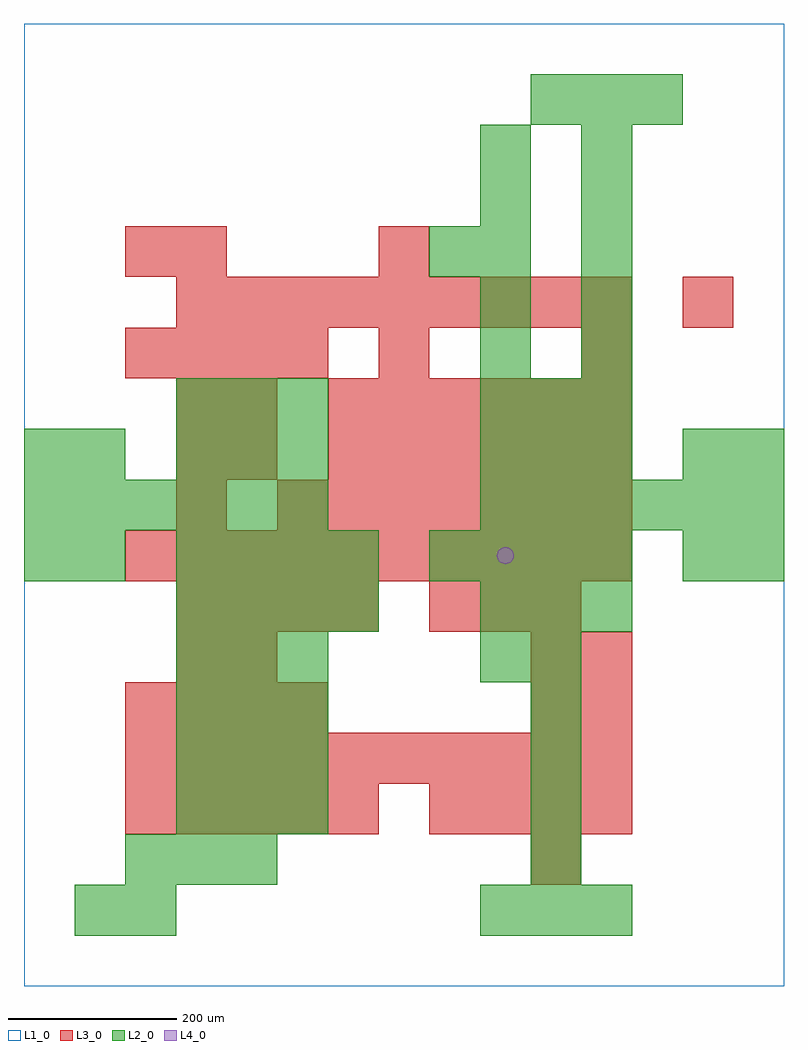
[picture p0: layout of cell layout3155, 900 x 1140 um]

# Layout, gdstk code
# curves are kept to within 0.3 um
import gdstk
lib = gdstk.Library(unit=1e-6, precision=1e-09)
def R(c, l, rs):  # rectangles x0, y0, x1, y1
    for r in rs: c.add(gdstk.rectangle(r[:2], r[2:], *l))
def A(c, l, x, y, w, h, nx, ny, dx, dy):  # array of equal rectangles
    R(c, l, [(x+i*dx, y+j*dy, x+i*dx+w, y+j*dy+h) for i in range(nx) for j in range(ny)])
def P(c, l, *ps):  # polygons
    for p in ps: c.add(gdstk.Polygon(p, *l))
L1_0 = (1, 0)
L2_0 = (2, 0)
L3_0 = (3, 0)
L4_0 = (4, 0)

layout3155 = lib.new_cell('layout3155')
R(layout3155, L1_0, [(0,0,900,1140)])
A(layout3155, L2_0, 540, 60, 60, 60, 3, 2, 60, 360)
A(layout3155, L2_0, 120, 120, 60, 60, 3, 1, 60, 0)
A(layout3155, L2_0, 600, 120, 60, 60, 1, 5, 0, 60)
A(layout3155, L2_0, 180, 180, 60, 60, 3, 4, 60, 60)
A(layout3155, L2_0, 180, 420, 60, 60, 4, 2, 60, 60)
A(layout3155, L2_0, 480, 480, 60, 60, 4, 1, 60, 0)
A(layout3155, L2_0, 0, 540, 60, 60, 6, 1, 60, 0)
A(layout3155, L2_0, 540, 540, 60, 60, 6, 1, 60, 0)
A(layout3155, L2_0, 180, 600, 60, 60, 3, 2, 60, 60)
A(layout3155, L2_0, 540, 600, 60, 60, 3, 2, 60, 60)
A(layout3155, L2_0, 540, 720, 60, 60, 1, 5, 0, 60)
A(layout3155, L2_0, 660, 720, 60, 60, 1, 5, 0, 60)
A(layout3155, L2_0, 600, 1020, 60, 60, 3, 1, 60, 0)
R(layout3155, L2_0, [(60,60,120,120), (120,60,180,120), (540,360,600,420), (0,480,60,540), (60,480,120,540), (780,480,840,540), (840,480,900,540), (0,600,60,660), (60,600,120,660), (780,600,840,660), (840,600,900,660), (480,840,540,900)])
A(layout3155, L3_0, 120, 180, 60, 60, 5, 1, 60, 0)
A(layout3155, L3_0, 480, 180, 60, 60, 4, 1, 60, 0)
A(layout3155, L3_0, 120, 240, 60, 60, 10, 2, 60, 240)
A(layout3155, L3_0, 120, 300, 60, 60, 4, 2, 60, 420)
A(layout3155, L3_0, 180, 420, 60, 60, 4, 1, 60, 0)
A(layout3155, L3_0, 480, 420, 60, 60, 3, 1, 60, 0)
A(layout3155, L3_0, 180, 540, 60, 60, 1, 3, 0, 60)
A(layout3155, L3_0, 300, 540, 60, 60, 7, 1, 60, 0)
A(layout3155, L3_0, 360, 600, 60, 60, 6, 2, 60, 60)
A(layout3155, L3_0, 180, 780, 60, 60, 9, 1, 60, 0)
R(layout3155, L3_0, [(600,120,660,180), (600,300,660,360), (660,300,720,360), (180,360,240,420), (240,360,300,420), (600,360,660,420), (660,360,720,420), (240,600,300,660), (240,660,300,720), (420,720,480,780), (660,720,720,780), (780,780,840,840), (120,840,180,900), (180,840,240,900), (420,840,480,900)])
P(layout3155, L4_0, [(580,510),(579.239,513.827),(577.071,517.071),(573.827,519.239),(570,520),(566.173,519.239),(562.929,517.071),(560.761,513.827),(560,510),(560.761,506.173),(562.929,502.929),(566.173,500.761),(570,500),(573.827,500.761),(577.071,502.929),(579.239,506.173)])

lib.write_gds('layout3155.gds')
